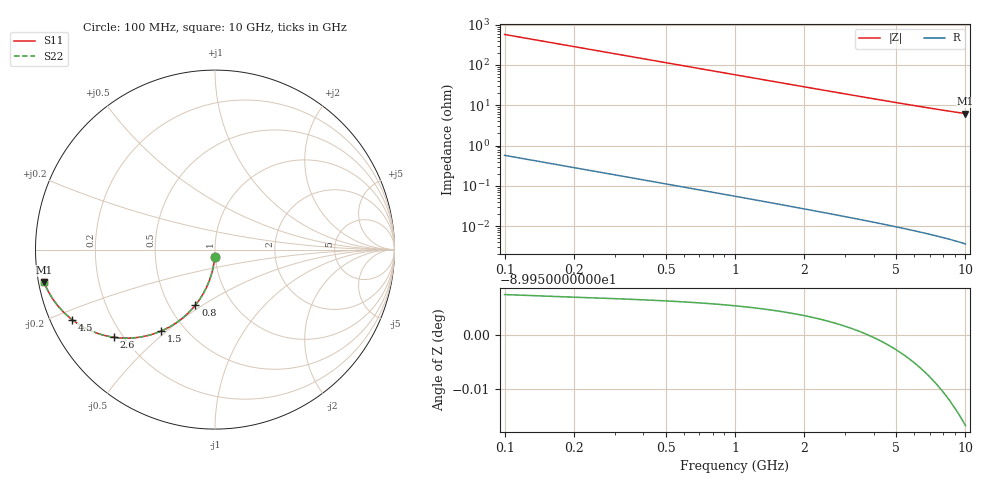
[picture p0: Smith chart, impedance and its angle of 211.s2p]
# Hz S RI R 50.00
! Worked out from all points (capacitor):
!   100 points, 100 MHz to 10 GHz, reference 50 ohm
!   read as one part in shunt: C = 2.78 pF near 100 MHz
!   lowest |Z| = 6.23 ohm at 10 GHz (marker M1)
!   S11 on the Smith chart (normalised r, x): 100 MHz: 0.99, -0.09; 800 MHz: 0.67, -0.47; 1.5 GHz: 0.37, -0.48; 2.6 GHz: 0.17, -0.36; 4.5 GHz: 0.06, -0.23; 10 GHz: 0.02, -0.09
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1e8  -0.00186 -0.0433  0.998 -0.0439  0.998 -0.0439  -0.00186 -0.0433
2e8  -0.00757 -0.0862  0.9922 -0.0872  0.9922 -0.0872  -0.00757 -0.0862
3e8  -0.0169 -0.128  0.9829 -0.1296  0.9829 -0.1296  -0.0169 -0.128
4e8  -0.0297 -0.1684  0.9701 -0.1705  0.9701 -0.1705  -0.0297 -0.1684
5e8  -0.0456 -0.2071  0.9542 -0.2097  0.9542 -0.2097  -0.0456 -0.2071
6e8  -0.0644 -0.2435  0.9354 -0.2467  0.9354 -0.2467  -0.0644 -0.2435
8e8  -0.109 -0.3091  0.8908 -0.3134  0.8908 -0.3134  -0.109 -0.3091
9e8  -0.134 -0.3379  0.8658 -0.3427  0.8658 -0.3427  -0.134 -0.3379
1.1e9  -0.1878 -0.3872  0.812 -0.393  0.812 -0.393  -0.1878 -0.3872
1.3e9  -0.2441 -0.4257  0.7557 -0.4325  0.7557 -0.4325  -0.2441 -0.4257
1.5e9  -0.3006 -0.4541  0.6991 -0.4621  0.6991 -0.4621  -0.3006 -0.4541
1.8e9  -0.3824 -0.4807  0.6174 -0.4903  0.6174 -0.4903  -0.3824 -0.4807
2.2e9  -0.4806 -0.4933  0.5191 -0.505  0.5191 -0.505  -0.4806 -0.4933
2.6e9  -0.564 -0.4884  0.4357 -0.5023  0.4357 -0.5023  -0.564 -0.4884
3e9  -0.6328 -0.4735  0.3668 -0.4895  0.3668 -0.4895  -0.6328 -0.4735
3.4e9  -0.6891 -0.4532  0.3105 -0.4714  0.3105 -0.4714  -0.6891 -0.4532
3.9e9  -0.745 -0.4248  0.2546 -0.4457  0.2546 -0.4457  -0.745 -0.4248
4.5e9  -0.7959 -0.3902  0.2036 -0.4144  0.2036 -0.4144  -0.7959 -0.3902
5.1e9  -0.834 -0.3575  0.1654 -0.3851  0.1654 -0.3851  -0.834 -0.3575
6.7e9  -0.8975 -0.2839  0.1016 -0.3205  0.1016 -0.3205  -0.8975 -0.2839
8.4e9  -0.933 -0.2249  0.0657 -0.2716  0.0657 -0.2716  -0.933 -0.2249
1e10  -0.9523 -0.1823  0.0458 -0.2388  0.0458 -0.2388  -0.9523 -0.1823
